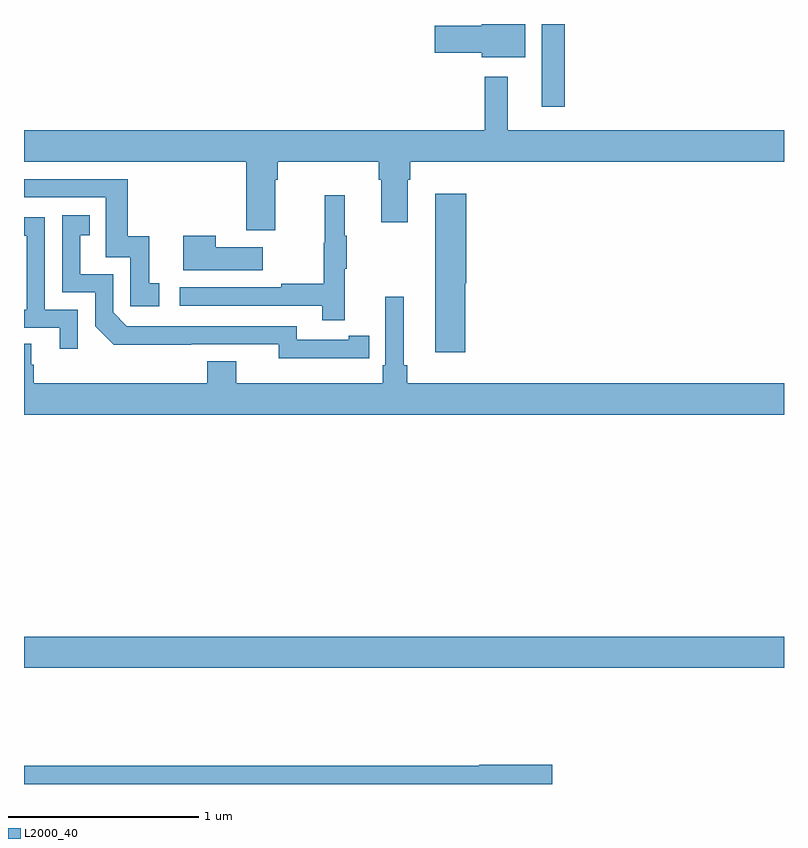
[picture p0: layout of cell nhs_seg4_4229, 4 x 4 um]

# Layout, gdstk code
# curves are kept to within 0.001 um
import gdstk
lib = gdstk.Library(unit=1e-6, precision=1e-09)
def R(c, l, rs):  # rectangles x0, y0, x1, y1
    for r in rs: c.add(gdstk.rectangle(r[:2], r[2:], *l))
def P(c, l, *ps):  # polygons
    for p in ps: c.add(gdstk.Polygon(p, *l))
L2000_40 = (2000, 40)

nhs_seg4_4229 = lib.new_cell('nhs_seg4_4229')
R(nhs_seg4_4229, L2000_40, [(337,771.512,341,771.676), (339.725,774.465,339.847,774.9)])
P(nhs_seg4_4229, L2000_40, [(339.637,774.9),(339.41,774.9),(339.41,774.89),(339.162,774.89),(339.162,774.748),(339.41,774.748),(339.41,774.725),(339.637,774.725)],
  [(338.323,774.08),(338.336,774.08),(338.336,774.176),(338.867,774.176),(338.867,774.08),(338.879,774.08),(338.879,773.856),(339.019,773.856),(339.019,774.08),(339.032,774.08),(339.032,774.176),(341,774.176),(341,774.34),(339.547,774.34),(339.547,774.622),(339.426,774.622),(339.426,774.34),(337,774.34),(337,774.176),(338.171,774.176),(338.171,773.814),(338.323,773.814)],
  [(337.711,773.535),(337.658,773.535),(337.658,773.782),(337.547,773.782),(337.547,774.084),(337,774.084),(337,773.988),(337.431,773.988),(337.431,773.673),(337.56,773.673),(337.56,773.415),(337.711,773.415)],
  [(339.323,773.535),(339.328,773.535),(339.328,774.007),(339.164,774.007),(339.164,773.172),(339.323,773.172)],
  [(338.687,773.611),(338.698,773.611),(338.698,773.785),(338.687,773.785),(338.687,773.998),(338.584,773.998),(338.584,773.748),(338.577,773.748),(338.577,773.534),(338.353,773.534),(338.353,773.514),(337.821,773.514),(337.821,773.418),(338.569,773.418),(338.569,773.34),(338.687,773.34)],
  [(338.708,773.142),(338.816,773.142),(338.816,773.258),(338.708,773.258),(338.708,773.238),(338.436,773.238),(338.436,773.31),(337.542,773.31),(337.47,773.382),(337.47,773.583),(337.297,773.583),(337.297,773.787),(337.346,773.787),(337.346,773.893),(337.2,773.893),(337.2,773.487),(337.374,773.487),(337.374,773.31),(337.472,773.213),(338.34,773.214),(338.34,773.141)],
  [(337.284,773.397),(337.11,773.397),(337.11,773.883),(337,773.883),(337,773.786),(337.014,773.786),(337.014,773.397),(337,773.397),(337,773.301),(337.187,773.301),(337.187,773.19),(337.284,773.19)],
  [(338.257,773.725),(338.009,773.725),(338.009,773.785),(337.838,773.785),(337.838,773.603),(338.257,773.603)],
  [(341,773.008),(339.017,773.008),(339.017,773.104),(338.998,773.104),(338.998,773.464),(338.901,773.464),(338.901,773.104),(338.888,773.104),(338.888,773.008),(338.116,773.008),(338.116,773.125),(337.964,773.125),(337.964,773.008),(337.052,773.008),(337.052,773.106),(337.039,773.106),(337.039,773.216),(337,773.216),(337,772.844),(341,772.844)],
  [(339.781,771.002),(339.396,771.002),(339.396,770.996),(337,770.996),(337,770.9),(339.781,770.9)])

lib.write_gds('nhs_seg4_4229.gds')
